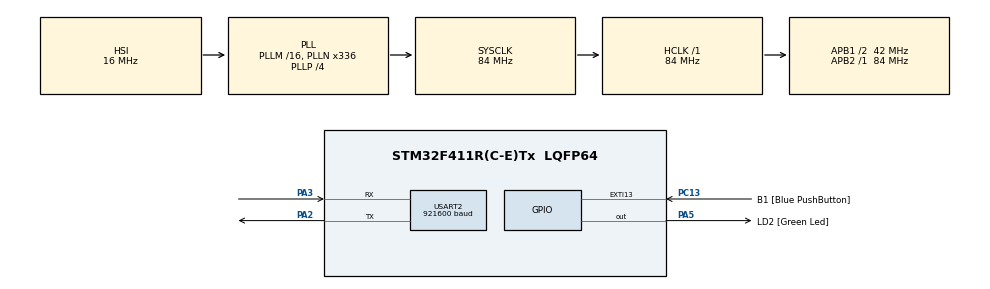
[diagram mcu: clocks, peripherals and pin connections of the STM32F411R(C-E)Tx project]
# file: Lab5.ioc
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Mcu.Family=STM32F4
Mcu.Name=STM32F411R(C-E)Tx
Mcu.Package=LQFP64
NVIC.PriorityGroup=NVIC_PRIORITYGROUP_0
NVIC.USART2_IRQn=true\:0\:0\:false\:false\:true\:true\:true\:true
PA13.GPIO_Label=TMS
PA13.Mode=Serial_Wire
PA13.Signal=SYS_JTMS-SWDIO
PA14.GPIO_Label=TCK
PA14.Mode=Serial_Wire
PA14.Signal=SYS_JTCK-SWCLK
PA2.GPIO_ModeDefaultPP=GPIO_MODE_AF_PP
PA2.GPIO_PuPd=GPIO_NOPULL
PA2.GPIO_Speed=GPIO_SPEED_FREQ_VERY_HIGH
PA2.Mode=Asynchronous
PA2.Signal=USART2_TX
PA3.GPIO_ModeDefaultPP=GPIO_MODE_AF_PP
PA3.GPIO_PuPd=GPIO_NOPULL
PA3.GPIO_Speed=GPIO_SPEED_FREQ_VERY_HIGH
PA3.Mode=Asynchronous
PA3.Signal=USART2_RX
PA5.GPIO_Label=LD2 [Green Led]
PA5.Signal=GPIO_Output
PB3.GPIO_Label=SWO
PB3.Signal=SYS_JTDO-SWO
PC13-ANTI_TAMP.GPIO_Label=B1 [Blue PushButton]
PC13-ANTI_TAMP.GPIO_ModeDefaultEXTI=GPIO_MODE_IT_FALLING
PC13-ANTI_TAMP.Signal=GPXTI13
PC14-OSC32_IN.Mode=LSE-External-Oscillator
PC14-OSC32_IN.Signal=RCC_OSC32_IN
PC15-OSC32_OUT.Mode=LSE-External-Oscillator
PC15-OSC32_OUT.Signal=RCC_OSC32_OUT
PH0\ -\ OSC_IN.Mode=HSE-External-Clock-Source
PH0\ -\ OSC_IN.Signal=RCC_OSC_IN
PH1\ -\ OSC_OUT.Mode=HSE-External-Clock-Source
PH1\ -\ OSC_OUT.Signal=RCC_OSC_OUT
ProjectManager.HeapSize=0x200
ProjectManager.StackSize=0x400
ProjectManager.TargetToolchain=STM32CubeIDE
RCC.48MHZClocksFreq_Value=84000000
RCC.AHBFreq_Value=84000000
RCC.APB1CLKDivider=RCC_HCLK_DIV2
RCC.APB1Freq_Value=42000000
RCC.APB1TimFreq_Value=84000000
RCC.APB2Freq_Value=84000000
RCC.APB2TimFreq_Value=84000000
RCC.CortexFreq_Value=84000000
RCC.FLatency-AdvancedSettings=FLASH_LATENCY_2
RCC.HCLKFreq_Value=84000000
RCC.HSE_VALUE=8000000
RCC.HSI_VALUE=16000000
RCC.PLLN=336
RCC.PLLP=RCC_PLLP_DIV4
RCC.SYSCLKFreq_VALUE=84000000
RCC.SYSCLKSource=RCC_SYSCLKSOURCE_PLLCLK
RCC.VCOOutputFreq_Value=336000000
USART2.BaudRate=921600
USART2.StopBits=STOPBITS_1
USART2.VirtualMode=VM_ASYNC
board=NUCLEO-F411RE

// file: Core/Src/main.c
/* USER CODE BEGIN Header */
/**
  ******************************************************************************
  * @file           : main.c
  * @brief          : Main program body
  ******************************************************************************
  * @attention
  *
  * Copyright (c) 2023 STMicroelectronics.
  * All rights reserved.
  *
  * This software is licensed under terms that can be found in the LICENSE file
  * in the root directory of this software component.
  * If no LICENSE file comes with this software, it is provided AS-IS.
  *
  ******************************************************************************
  */
/* USER CODE END Header */
#include "main.h"

/* USER CODE BEGIN Includes */
#include "stdio.h"
#include "string.h"

/* USER CODE END Includes */

UART_HandleTypeDef huart2;

/* USER CODE BEGIN PV */
uint8_t RxBuffer[2];
uint8_t TxBuffer[400];
uint velocity =0;
int state = 4;
int status = 0;
int press =0;
int last =2;
int current = 2;
int f=4;

/* USER CODE END PV */

void SystemClock_Config(void);
static void MX_GPIO_Init(void);
static void MX_USART2_UART_Init(void);
/* USER CODE BEGIN PFP */
void ControlLED();
void UARTInterruptConfig();
void ON();
void OFF();
void Button();

/* USER CODE END PFP */

int main(void)
{

  /* MCU Configuration--------------------------------------------------------*/

  /* Reset of all peripherals, Initializes the Flash interface and the Systick. */
  HAL_Init();

  /* Configure the system clock */
  SystemClock_Config();

  /* Initialize all configured peripherals */
  MX_GPIO_Init();
  MX_USART2_UART_Init();
  /* USER CODE BEGIN 2 */
  HAL_Delay(1000);
  UARTInterruptConfig();
  uint8_t text[] = "\r\nPlease Select Menu :\n \r\n 0 for  LED Control\n \r\n 1 for Button Status\n";
  HAL_UART_Transmit(&huart2, text, 69, 10);
  /* USER CODE END 2 */

  /* Infinite loop */
  while (1)
  {

    /* USER CODE BEGIN 3 */
	  //Task();
	  velocity = 1000/(f*2);

	  if(state ==0 && press == 0 && RxBuffer[0]=='x'){

		  sprintf((char*)TxBuffer,"\r\n Back : %s\r\n\n Please Select Menu :\r\n 0 for  LED Control \r\n 1 for Button Status\n",RxBuffer);
		  HAL_UART_Transmit_IT(&huart2, TxBuffer, strlen((char*)TxBuffer));
		  press = 1;
	  }
	  else if(state ==1 && press == 0 && RxBuffer[0]=='0'){
		  sprintf((char*)TxBuffer,"\r\n LED Control : %s\r\n\n Select Functions \r\n a : SpeedUp+1Hz \r\n s : SpeedDown-1Hz \r\n d : On/Off \r\n x : Back\n",RxBuffer);
		  HAL_UART_Transmit_IT(&huart2, TxBuffer, strlen((char*)TxBuffer));
		  press = 1;

	  }
	  else if(state ==2 && press == 0 && RxBuffer[0]=='1'){
		   sprintf((char*)TxBuffer,"\r\n Button Status : %s\r\n\n Select Functions\r\n StatusButton \r\n x:Back\n",RxBuffer);
		  HAL_UART_Transmit_IT(&huart2, TxBuffer, strlen((char*)TxBuffer));
		  press = 1;
	  }
	  else if(state ==3 && press == 0){
		  sprintf((char*)TxBuffer,"\r\n No Menu : %s\r\n \n Please Select Menu :\r\n 0 for  LED Control \r\n 1 for Button Status\n",RxBuffer);
		  HAL_UART_Transmit_IT(&huart2, TxBuffer, strlen((char*)TxBuffer));
		  press = 1;
	  }
	  if(status == 1){
		  ON();
	  }
	  else if (status == 0){
		  OFF();
	  }
	  Button();

  }
  /* USER CODE END 3 */
}

void SystemClock_Config(void)
{
  RCC_OscInitTypeDef RCC_OscInitStruct = {0};
  RCC_ClkInitTypeDef RCC_ClkInitStruct = {0};

  /** Configure the main internal regulator output voltage
  */
  __HAL_RCC_PWR_CLK_ENABLE();
  __HAL_PWR_VOLTAGESCALING_CONFIG(PWR_REGULATOR_VOLTAGE_SCALE1);

  /** Initializes the RCC Oscillators according to the specified parameters
  * in the RCC_OscInitTypeDef structure.
  */
  RCC_OscInitStruct.OscillatorType = RCC_OSCILLATORTYPE_HSI;
  RCC_OscInitStruct.HSIState = RCC_HSI_ON;
  RCC_OscInitStruct.HSICalibrationValue = RCC_HSICALIBRATION_DEFAULT;
  RCC_OscInitStruct.PLL.PLLState = RCC_PLL_ON;
  RCC_OscInitStruct.PLL.PLLSource = RCC_PLLSOURCE_HSI;
  RCC_OscInitStruct.PLL.PLLM = 16;
  RCC_OscInitStruct.PLL.PLLN = 336;
  RCC_OscInitStruct.PLL.PLLP = RCC_PLLP_DIV4;
  RCC_OscInitStruct.PLL.PLLQ = 4;
  if (HAL_RCC_OscConfig(&RCC_OscInitStruct) != HAL_OK)
  {
    Error_Handler();
  }

  /** Initializes the CPU, AHB and APB buses clocks
  */
  RCC_ClkInitStruct.ClockType = RCC_CLOCKTYPE_HCLK|RCC_CLOCKTYPE_SYSCLK
                              |RCC_CLOCKTYPE_PCLK1|RCC_CLOCKTYPE_PCLK2;
  RCC_ClkInitStruct.SYSCLKSource = RCC_SYSCLKSOURCE_PLLCLK;
  RCC_ClkInitStruct.AHBCLKDivider = RCC_SYSCLK_DIV1;
  RCC_ClkInitStruct.APB1CLKDivider = RCC_HCLK_DIV2;
  RCC_ClkInitStruct.APB2CLKDivider = RCC_HCLK_DIV1;

  if (HAL_RCC_ClockConfig(&RCC_ClkInitStruct, FLASH_LATENCY_2) != HAL_OK)
  {
    Error_Handler();
  }
}

static void MX_USART2_UART_Init(void)
{

  huart2.Instance = USART2;
  huart2.Init.BaudRate = 921600;
  huart2.Init.WordLength = UART_WORDLENGTH_8B;
  huart2.Init.StopBits = UART_STOPBITS_1;
  huart2.Init.Parity = UART_PARITY_NONE;
  huart2.Init.Mode = UART_MODE_TX_RX;
  huart2.Init.HwFlowCtl = UART_HWCONTROL_NONE;
  huart2.Init.OverSampling = UART_OVERSAMPLING_16;
  if (HAL_UART_Init(&huart2) != HAL_OK)
  {
    Error_Handler();
  }

}

static void MX_GPIO_Init(void)
{
  GPIO_InitTypeDef GPIO_InitStruct = {0};

  /* GPIO Ports Clock Enable */
  __HAL_RCC_GPIOC_CLK_ENABLE();
  __HAL_RCC_GPIOH_CLK_ENABLE();
  __HAL_RCC_GPIOA_CLK_ENABLE();
  __HAL_RCC_GPIOB_CLK_ENABLE();

  /*Configure GPIO pin Output Level */
  HAL_GPIO_WritePin(LD2_GPIO_Port, LD2_Pin, GPIO_PIN_RESET);

  /*Configure GPIO pin : B1_Pin */
  GPIO_InitStruct.Pin = B1_Pin;
  GPIO_InitStruct.Mode = GPIO_MODE_IT_FALLING;
  GPIO_InitStruct.Pull = GPIO_NOPULL;
  HAL_GPIO_Init(B1_GPIO_Port, &GPIO_InitStruct);

  /*Configure GPIO pin : LD2_Pin */
  GPIO_InitStruct.Pin = LD2_Pin;
  GPIO_InitStruct.Mode = GPIO_MODE_OUTPUT_PP;
  GPIO_InitStruct.Pull = GPIO_NOPULL;
  GPIO_InitStruct.Speed = GPIO_SPEED_FREQ_LOW;
  HAL_GPIO_Init(LD2_GPIO_Port, &GPIO_InitStruct);

}

/* USER CODE BEGIN 4 */
void UARTInterruptConfig()
{
	HAL_UART_Receive_IT(&huart2, RxBuffer, 1);
}

void HAL_UART_RxCpltCallback(UART_HandleTypeDef *huart)
{
	if(huart == &huart2)
	{
		RxBuffer[1] = '\0';
		press = 0;
		if (RxBuffer[0] == '0')
		{
			state =1;

		}
		else if (RxBuffer[0] == '1')
		{
			state =2;
		}
		else if (state == 4 && RxBuffer[0] != '0' && RxBuffer[0] != '1')
		{
			state = 3;
		}

		switch (state)
		{
		case 0 :
			if (state==0 && RxBuffer[0] == '0')
			{
				state =1;
			}
			else if (state==0 &&RxBuffer[0] == '1')
			{
				state =2;
			}
			else if (state == 0 && RxBuffer[0]!='0'&& RxBuffer[0]!='1'&& RxBuffer[0]!='a'&& RxBuffer[0]!='d'&& RxBuffer[0]!='s'&& RxBuffer[0]!='x')
			{
				state = 3;
			}
			//HAL_UART_Receive_IT(&huart2, RxBuffer, 1);
			break;

			// LED Control
		case 1 :

			if(state==1 && RxBuffer[0]=='a')
			{
				sprintf((char*)TxBuffer,"\r\n SpeedUp 1Hz : %s\r\n",RxBuffer);
				HAL_UART_Transmit_IT(&huart2, TxBuffer, strlen((char*)TxBuffer));
				f+=1;
				status = 1;
			}
			else if(state==1 && RxBuffer[0]=='s')
			{
				sprintf((char*)TxBuffer,"\r\n SpeedDown 1Hz : %s\r\n",RxBuffer);
				HAL_UART_Transmit_IT(&huart2, TxBuffer, strlen((char*)TxBuffer));
				f-=1;

				status = 1;
			}
			else if(state==1 && RxBuffer[0]=='d')
			{
				status += 1;
				if(status == 1){
					sprintf((char*)TxBuffer,"\r\n On : %s\r\n",RxBuffer);
					HAL_UART_Transmit_IT(&huart2, TxBuffer, strlen((char*)TxBuffer));

				}
				else if(status == 2){
					sprintf((char*)TxBuffer,"\r\n Off : %s\r\n",RxBuffer);
					HAL_UART_Transmit_IT(&huart2, TxBuffer, strlen((char*)TxBuffer));
					status = 0;
				}

			}
			else if(state==1 && RxBuffer[0]=='x')
			{

				state = 0;
			}
			else if (state == 1 && RxBuffer[0]!='0'&& RxBuffer[0]!='1'&& RxBuffer[0]!='a'&& RxBuffer[0]!='d'&& RxBuffer[0]!='s'&& RxBuffer[0]!='x')
			{
				state = 3;
			}
			break;

			//Button Status
		case 2:

			if(RxBuffer[0]=='x')
			{

				state = 0;
			}
			else if (state == 2 && RxBuffer[0]!='0'&& RxBuffer[0]!='1'&& RxBuffer[0]!='a'&& RxBuffer[0]!='d'&& RxBuffer[0]!='s'&& RxBuffer[0]!='x')
			{
				state = 3;
			}
			break;

		case 3 :
			//state = 0;

			if (state==0 && RxBuffer[0] == '0')
			{
				state =1;
			}
			else if (state==0 &&RxBuffer[0] == '1')
			{
				state =2;
			}
			else if (state == 0 &&  RxBuffer[0]!='x')
			{
				state = 3;
			}

			//HAL_UART_Receive_IT(&huart2, RxBuffer, 1);
		break;

		}

		HAL_UART_Receive_IT(&huart2, RxBuffer, 1);
	}
}

void ON()
{
	static uint32_t timestamp = 0;
	if(HAL_GetTick()>= timestamp)
	{
		timestamp = HAL_GetTick()+velocity;
		HAL_GPIO_TogglePin(LD2_GPIO_Port, LD2_Pin);

	}
}
void OFF()
{
	HAL_GPIO_WritePin(GPIOA, GPIO_PIN_5, RESET);

}
void Button()
{
	current = HAL_GPIO_ReadPin(GPIOC, GPIO_PIN_13);
	if(last == 1 && current == 0 && state ==2 ){
		sprintf((char*)TxBuffer,"\r\n Press\r\n",RxBuffer);
		HAL_UART_Transmit_IT(&huart2, TxBuffer, strlen((char*)TxBuffer));
	}
	else if(last == 0 && current == 1 && state == 2){
		sprintf((char*)TxBuffer,"\r\n UnPress\r\n",RxBuffer);
		HAL_UART_Transmit_IT(&huart2, TxBuffer, strlen((char*)TxBuffer));
	}
	last = current;
}
/* USER CODE END 4 */

void Error_Handler(void)
{
  __disable_irq();
  while (1)
  {
  }
}
